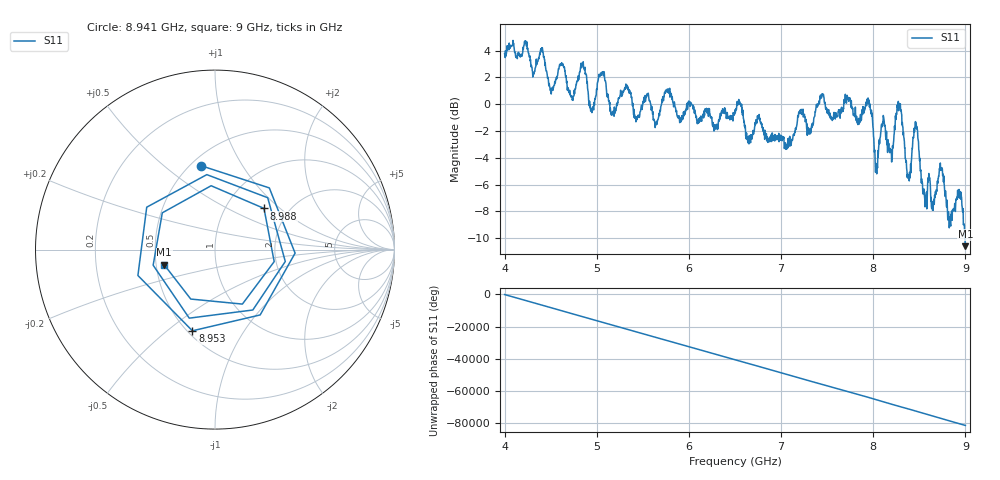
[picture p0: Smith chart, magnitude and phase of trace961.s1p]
! Created with skrf 1.8.0 (http://scikit-rf.org).
# Hz S RI R 50.0
!freq ReS11 ImS11
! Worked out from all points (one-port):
!   1601 points, 4 GHz to 9 GHz, reference 50 ohm
!   lowest |S11| = -10.6 dB at 9 GHz (marker M1), VSWR 1.84, Z = 27.6 - j5.09 ohm
!   |S11| at or under -10 dB: 8.996114 GHz to end of sweep
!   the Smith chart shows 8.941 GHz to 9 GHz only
!   S11 on the Smith chart (normalised r, x): 8.941 GHz: 0.56, +0.68; 8.953 GHz: 0.53, -0.61; 8.988 GHz: 1.50, +0.79; 9 GHz: 0.55, -0.10
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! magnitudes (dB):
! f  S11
! 4 GHz  3.8
! 4.403 GHz  4.2
! 4.506 GHz  0.8
! 4.625 GHz  2.9
! 4.728 GHz  0.6
! 4.853 GHz  3.2
! 4.944 GHz  -0.4
! 5.056 GHz  2.3
! 5.162 GHz  -0.7
! 5.25 GHz  0.6
! 5.875 GHz  -0.9
! 6.5 GHz  -0.4
! 7.125 GHz  -2.7
! 7.75 GHz  0.4
! 7.956 GHz  0.3
! 8.034 GHz  -4.8
! 8.106 GHz  -1.4
! 8.197 GHz  -3.6
! 8.284 GHz  -0.1
! 8.375 GHz  -5.5
! 8.459 GHz  -1.3
! 8.562 GHz  -7.7
! 8.734 GHz  -4.9
! 8.831 GHz  -8.4
! 8.941 GHz  -6.5
! 8.953 GHz  -6.6
! 8.988 GHz  -9.0
! 9 GHz  -10.6
